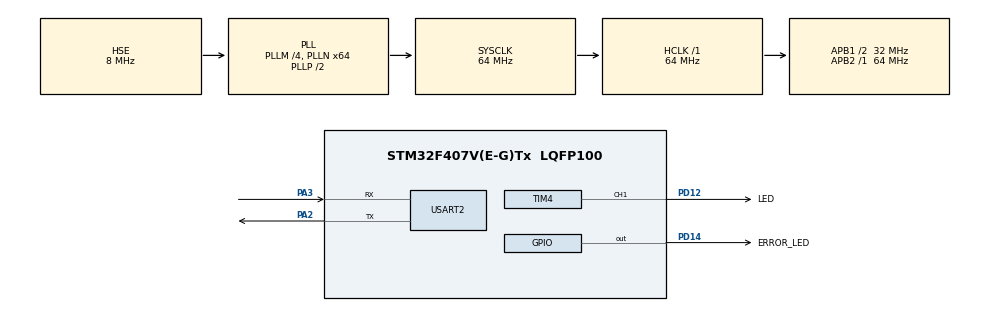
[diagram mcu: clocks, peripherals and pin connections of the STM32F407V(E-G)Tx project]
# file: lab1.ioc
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Dma.Request0=TIM8_UP
Dma.Request1=USART2_RX
Dma.Request2=USART2_TX
Dma.TIM8_UP.0.Direction=DMA_MEMORY_TO_PERIPH
Dma.TIM8_UP.0.FIFOMode=DMA_FIFOMODE_DISABLE
Dma.TIM8_UP.0.Instance=DMA2_Stream1
Dma.TIM8_UP.0.MemDataAlignment=DMA_MDATAALIGN_HALFWORD
Dma.TIM8_UP.0.MemInc=DMA_MINC_ENABLE
Dma.TIM8_UP.0.Mode=DMA_CIRCULAR
Dma.TIM8_UP.0.PeriphDataAlignment=DMA_PDATAALIGN_HALFWORD
Dma.TIM8_UP.0.PeriphInc=DMA_PINC_DISABLE
Dma.TIM8_UP.0.Priority=DMA_PRIORITY_HIGH
Dma.USART2_RX.1.Direction=DMA_PERIPH_TO_MEMORY
Dma.USART2_RX.1.FIFOMode=DMA_FIFOMODE_DISABLE
Dma.USART2_RX.1.Instance=DMA1_Stream5
Dma.USART2_RX.1.MemDataAlignment=DMA_MDATAALIGN_BYTE
Dma.USART2_RX.1.MemInc=DMA_MINC_ENABLE
Dma.USART2_RX.1.Mode=DMA_NORMAL
Dma.USART2_RX.1.PeriphDataAlignment=DMA_PDATAALIGN_BYTE
Dma.USART2_RX.1.PeriphInc=DMA_PINC_DISABLE
Dma.USART2_RX.1.Priority=DMA_PRIORITY_HIGH
Dma.USART2_TX.2.Direction=DMA_MEMORY_TO_PERIPH
Dma.USART2_TX.2.FIFOMode=DMA_FIFOMODE_DISABLE
Dma.USART2_TX.2.Instance=DMA1_Stream6
Dma.USART2_TX.2.MemDataAlignment=DMA_MDATAALIGN_BYTE
Dma.USART2_TX.2.MemInc=DMA_MINC_ENABLE
Dma.USART2_TX.2.Mode=DMA_NORMAL
Dma.USART2_TX.2.PeriphDataAlignment=DMA_PDATAALIGN_BYTE
Dma.USART2_TX.2.PeriphInc=DMA_PINC_DISABLE
Dma.USART2_TX.2.Priority=DMA_PRIORITY_HIGH
Mcu.Family=STM32F4
Mcu.Name=STM32F407V(E-G)Tx
Mcu.Package=LQFP100
NVIC.DMA1_Stream5_IRQn=true\:0\:0\:false\:false\:true\:false\:true\:true
NVIC.DMA1_Stream6_IRQn=true\:0\:0\:false\:false\:true\:false\:true\:true
NVIC.DMA2_Stream1_IRQn=true\:0\:0\:false\:false\:true\:false\:true\:true
NVIC.PriorityGroup=NVIC_PRIORITYGROUP_4
PA2.Mode=Asynchronous
PA2.Signal=USART2_TX
PA3.Mode=Asynchronous
PA3.Signal=USART2_RX
PD12.GPIO_Label=LED
PD12.Signal=S_TIM4_CH1
PD14.GPIO_Label=ERROR_LED
PD14.Signal=GPIO_Output
PH0-OSC_IN.Mode=HSE-External-Oscillator
PH0-OSC_IN.Signal=RCC_OSC_IN
PH1-OSC_OUT.Mode=HSE-External-Oscillator
PH1-OSC_OUT.Signal=RCC_OSC_OUT
ProjectManager.HeapSize=0x200
ProjectManager.StackSize=0x400
ProjectManager.TargetToolchain=STM32CubeIDE
RCC.48MHZClocksFreq_Value=32000000
RCC.AHBFreq_Value=64000000
RCC.APB1CLKDivider=RCC_HCLK_DIV2
RCC.APB1Freq_Value=32000000
RCC.APB1TimFreq_Value=64000000
RCC.APB2Freq_Value=64000000
RCC.APB2TimFreq_Value=64000000
RCC.CortexFreq_Value=64000000
RCC.HCLKFreq_Value=64000000
RCC.HSE_VALUE=8000000
RCC.HSI_VALUE=16000000
RCC.LSE_VALUE=32768
RCC.PLLM=4
RCC.PLLN=64
RCC.PLLSourceVirtual=RCC_PLLSOURCE_HSE
RCC.SYSCLKFreq_VALUE=64000000
RCC.SYSCLKSource=RCC_SYSCLKSOURCE_PLLCLK
RCC.VCOOutputFreq_Value=128000000
SH.S_TIM4_CH1.0=TIM4_CH1,PWM Generation1 CH1
TIM4.Channel-PWM\ Generation1\ CH1=TIM_CHANNEL_1
TIM4.Period=256-1
TIM4.Prescaler=25-1
TIM8.AutoReloadPreload=TIM_AUTORELOAD_PRELOAD_ENABLE
TIM8.Period=1003
TIM8.Prescaler=125-1
USART2.VirtualMode=VM_ASYNC
VP_TIM4_VS_ClockSourceINT.Mode=Internal
VP_TIM8_VS_ClockSourceINT.Mode=Internal
board=custom

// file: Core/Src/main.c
/* USER CODE BEGIN Header */
/* USER CODE END Header */
#include "main.h"

/* USER CODE BEGIN PD */

/* -------------- */

#define TIM8_PRESC            ( 125 - 1 )

#define CRT_GAMMA             2.2
#define CRT_MAX               255
#define CRT_TABLE_LEN         ( CRT_MAX * 2 )

#define MAIN_LED_FLASH_FREQ   120

/* USER CODE END PD */

TIM_HandleTypeDef htim2;
TIM_HandleTypeDef htim4;
TIM_HandleTypeDef htim8;
DMA_HandleTypeDef hdma_tim8_up;

UART_HandleTypeDef huart2;
DMA_HandleTypeDef hdma_usart2_rx;
DMA_HandleTypeDef hdma_usart2_tx;

/* USER CODE BEGIN PV */

#define LED_TIMER                 htim4
#define LED_CHANNEL               TIM_CHANNEL_1

#define LED_SET_TIMER             htim8

/* -------------- */

uint16_t LED_Period;
float CRT_K;
float CRT_Gamma;

uint16_t led_brightness_table[CRT_TABLE_LEN];

/* -------------- */

#define MSG_LEN            7
#define FULL_MSG_LEN       (MSG_LEN + 2)

uint8_t rx_buffer[FULL_MSG_LEN];
uint8_t msg_buffer[FULL_MSG_LEN];
volatile uint8_t msg_received_flug = 0;

/* USER CODE END PV */

void SystemClock_Config(void);
static void MX_GPIO_Init(void);
static void MX_DMA_Init(void);
static void MX_TIM4_Init(void);
static void MX_TIM8_Init(void);
static void MX_USART2_UART_Init(void);
/* USER CODE BEGIN PFP */

void setup_CRT();
uint16_t get_CRT(uint16_t val);
void calc_brightness_table(uint16_t *table);
void set_blink_frequency(TIM_HandleTypeDef *htim, uint32_t freq);

void HAL_UART_RxCpltCallback(UART_HandleTypeDef *huart);
void USART_DMA_SendString(UART_HandleTypeDef *huart, const char *str);

void messageProcessing(uint8_t* message);
void LEDProcessing(uint8_t func, uint32_t data);
void ServoProcessing(uint8_t func, uint32_t data);

/* USER CODE END PFP */

/* USER CODE BEGIN 0 */

void calc_CRT_K() {
	CRT_K = ( CRT_MAX / (pow(CRT_MAX, CRT_Gamma)) );
}

void setup_CRT() {
	CRT_Gamma = CRT_GAMMA;
	calc_CRT_K();
}

uint16_t get_CRT(uint16_t val) {
	return (uint16_t)( CRT_K * pow(val, CRT_Gamma) );
}

void calc_brightness_table(uint16_t *table) {
	for (uint16_t i=0; i<CRT_MAX; i++) {
		uint16_t val = (uint16_t)get_CRT(i);
		table[i] = val;
		table[CRT_TABLE_LEN-i-1] = val;
	}
}

void set_blink_frequency(TIM_HandleTypeDef *htim, uint32_t freq) {
    uint32_t period = 0;

    freq *= CRT_TABLE_LEN;
    freq /= 60;

    if (freq > 0) {
        uint32_t tick_freq = MAIN_CLOCK / (TIM8_PRESC + 1);
        period = tick_freq / freq;
    }

    __HAL_TIM_SET_AUTORELOAD(htim, period);
}

#define LED_Enable()      HAL_TIM_PWM_Start(&htim4, LED_CHANNEL);
#define LED_Disable()     HAL_TIM_PWM_Stop(&htim4, LED_CHANNEL);

/* -------------- */

#define USART_DMA_RX_Init()     HAL_UART_Receive_DMA(&huart2, rx_buffer, FULL_MSG_LEN);

void USART_DMA_SendString(UART_HandleTypeDef *huart, const char *str) {
    uint16_t len = strlen(str);
    HAL_UART_Transmit_DMA(huart, (uint8_t *)str, len);
}
#define uart_send(str) USART_DMA_SendString(&huart2, str)

/* -------------- */

void HAL_UART_RxCpltCallback(UART_HandleTypeDef *huart) {
    if (huart->Instance != USART2) return;

    memmove(msg_buffer, rx_buffer, FULL_MSG_LEN);
    msg_received_flug = 1;
}

void HAL_UART_TxCpltCallback(UART_HandleTypeDef *huart) {
    if (huart->Instance != USART2) return;

    //
}

/* -------------- */

uint8_t crc8(const uint8_t *data, size_t length) {
    uint8_t crc = 0x00;
    for (size_t i = 0; i < length; i++) {
        crc ^= data[i];
        for (uint8_t bit = 0; bit < 8; bit++) {
            if (crc & 0x80) crc = (crc << 1) ^ 0x07;
            else crc <<= 1;
        }
    }
    return crc;
}

void messageProcessing(uint8_t *message) {
	uint8_t first_byte  = message[0];
	uint8_t target_byte = message[1];
	uint8_t func_byte   = message[2];
	uint32_t data_bytes = (uint32_t)message[3] << 24 |
			              (uint32_t)message[4] << 16 |
						  (uint32_t)message[5] << 8 |
						  (uint32_t)message[6] << 0;
	uint8_t crc_byte    = message[7];

	if (first_byte != 0xFF) return;
	if (crc_byte != crc8(message, 7)) return;

	switch (target_byte) {
	case 0x00:
		LEDProcessing(func_byte, data_bytes);
		break;
	case 0x01:
		ServoProcessing(func_byte, data_bytes);
		break;
	}
}

void LEDProcessing(uint8_t func, uint32_t data) {
	switch (func) {
	case 0x00: // ON / OFF
		if (data & 0x01) LED_Enable() else LED_Disable();
		break;
	case 0x01: // Frequency
		set_blink_frequency(&LED_SET_TIMER, data);
		break;
	case 0x02: // Gamma
		CRT_Gamma = (float)data/10;
		calc_CRT_K();
		calc_brightness_table(led_brightness_table);
		break;
	}
}

void ServoProcessing(uint8_t func, uint32_t data) {
	switch (func) {
	case 0x00: // Угол
		SERVO_setAngle((uint16_t)data);
		break;
	}
}

/* USER CODE END 0 */

int main(void)
{

  /* MCU Configuration--------------------------------------------------------*/

  /* Reset of all peripherals, Initializes the Flash interface and the Systick. */
  HAL_Init();

  /* Configure the system clock */
  SystemClock_Config();

  /* Initialize all configured peripherals */
  MX_GPIO_Init();
  MX_DMA_Init();
  MX_TIM4_Init();
  MX_TIM8_Init();
  MX_USART2_UART_Init();
  /* USER CODE BEGIN 2 */

  SERVO_TimerInit();

  USART_DMA_RX_Init();

  setup_CRT();
  calc_brightness_table(led_brightness_table);

  SERVO_Enable();

  LED_Enable();
  HAL_DMA_Start(&hdma_tim8_up, (uint32_t)led_brightness_table, (uint32_t)&TIM4->CCR1, CRT_TABLE_LEN);
  HAL_TIM_Base_Start(&LED_SET_TIMER);

  uart_send("\nПогнали, йоптыть!\n\r");
  HAL_Delay(500);
  uart_send("Работает?\n\r");

  /* USER CODE END 2 */

  /* Infinite loop */
  /* USER CODE BEGIN WHILE */

  set_blink_frequency(&LED_SET_TIMER, MAIN_LED_FLASH_FREQ);
  SERVO_setAngle(0);

  while (1) {
	if (!msg_received_flug) continue;

	msg_received_flug = 0;
	messageProcessing(msg_buffer);
	USART_DMA_RX_Init();

    /* USER CODE END WHILE */

  }
}

void SystemClock_Config(void)
{
  RCC_OscInitTypeDef RCC_OscInitStruct = {0};
  RCC_ClkInitTypeDef RCC_ClkInitStruct = {0};

  /** Configure the main internal regulator output voltage
  */
  __HAL_RCC_PWR_CLK_ENABLE();
  __HAL_PWR_VOLTAGESCALING_CONFIG(PWR_REGULATOR_VOLTAGE_SCALE1);

  /** Initializes the RCC Oscillators according to the specified parameters
  * in the RCC_OscInitTypeDef structure.
  */
  RCC_OscInitStruct.OscillatorType = RCC_OSCILLATORTYPE_HSE;
  RCC_OscInitStruct.HSEState = RCC_HSE_ON;
  RCC_OscInitStruct.PLL.PLLState = RCC_PLL_ON;
  RCC_OscInitStruct.PLL.PLLSource = RCC_PLLSOURCE_HSE;
  RCC_OscInitStruct.PLL.PLLM = 4;
  RCC_OscInitStruct.PLL.PLLN = 64;
  RCC_OscInitStruct.PLL.PLLP = RCC_PLLP_DIV2;
  RCC_OscInitStruct.PLL.PLLQ = 4;
  if (HAL_RCC_OscConfig(&RCC_OscInitStruct) != HAL_OK)
  {
    Error_Handler();
  }

  /** Initializes the CPU, AHB and APB buses clocks
  */
  RCC_ClkInitStruct.ClockType = RCC_CLOCKTYPE_HCLK|RCC_CLOCKTYPE_SYSCLK
                              |RCC_CLOCKTYPE_PCLK1|RCC_CLOCKTYPE_PCLK2;
  RCC_ClkInitStruct.SYSCLKSource = RCC_SYSCLKSOURCE_PLLCLK;
  RCC_ClkInitStruct.AHBCLKDivider = RCC_SYSCLK_DIV1;
  RCC_ClkInitStruct.APB1CLKDivider = RCC_HCLK_DIV2;
  RCC_ClkInitStruct.APB2CLKDivider = RCC_HCLK_DIV1;

  if (HAL_RCC_ClockConfig(&RCC_ClkInitStruct, FLASH_LATENCY_2) != HAL_OK)
  {
    Error_Handler();
  }
}

static void MX_TIM4_Init(void)
{

  TIM_ClockConfigTypeDef sClockSourceConfig = {0};
  TIM_MasterConfigTypeDef sMasterConfig = {0};
  TIM_OC_InitTypeDef sConfigOC = {0};

  htim4.Instance = TIM4;
  htim4.Init.Prescaler = 25-1;
  htim4.Init.CounterMode = TIM_COUNTERMODE_UP;
  htim4.Init.Period = 256-1;
  htim4.Init.ClockDivision = TIM_CLOCKDIVISION_DIV1;
  htim4.Init.AutoReloadPreload = TIM_AUTORELOAD_PRELOAD_DISABLE;
  if (HAL_TIM_Base_Init(&htim4) != HAL_OK)
  {
    Error_Handler();
  }
  sClockSourceConfig.ClockSource = TIM_CLOCKSOURCE_INTERNAL;
  if (HAL_TIM_ConfigClockSource(&htim4, &sClockSourceConfig) != HAL_OK)
  {
    Error_Handler();
  }
  if (HAL_TIM_PWM_Init(&htim4) != HAL_OK)
  {
    Error_Handler();
  }
  sMasterConfig.MasterOutputTrigger = TIM_TRGO_RESET;
  sMasterConfig.MasterSlaveMode = TIM_MASTERSLAVEMODE_DISABLE;
  if (HAL_TIMEx_MasterConfigSynchronization(&htim4, &sMasterConfig) != HAL_OK)
  {
    Error_Handler();
  }
  sConfigOC.OCMode = TIM_OCMODE_PWM1;
  sConfigOC.Pulse = 0;
  sConfigOC.OCPolarity = TIM_OCPOLARITY_HIGH;
  sConfigOC.OCFastMode = TIM_OCFAST_DISABLE;
  if (HAL_TIM_PWM_ConfigChannel(&htim4, &sConfigOC, TIM_CHANNEL_1) != HAL_OK)
  {
    Error_Handler();
  }
  HAL_TIM_MspPostInit(&htim4);

}

static void MX_TIM8_Init(void) {
  TIM_ClockConfigTypeDef sClockSourceConfig = {0};
  TIM_MasterConfigTypeDef sMasterConfig = {0};

  LED_SET_TIMER.Instance = TIM8;
  LED_SET_TIMER.Init.Prescaler = 125-1;
  LED_SET_TIMER.Init.CounterMode = TIM_COUNTERMODE_UP;
  LED_SET_TIMER.Init.Period = 1003;
  LED_SET_TIMER.Init.ClockDivision = TIM_CLOCKDIVISION_DIV1;
  LED_SET_TIMER.Init.RepetitionCounter = 0;
  LED_SET_TIMER.Init.AutoReloadPreload = TIM_AUTORELOAD_PRELOAD_ENABLE;
  if (HAL_TIM_Base_Init(&LED_SET_TIMER) != HAL_OK) Error_Handler();

  sClockSourceConfig.ClockSource = TIM_CLOCKSOURCE_INTERNAL;
  if (HAL_TIM_ConfigClockSource(&LED_SET_TIMER, &sClockSourceConfig) != HAL_OK) Error_Handler();

  sMasterConfig.MasterOutputTrigger = TIM_TRGO_RESET;
  sMasterConfig.MasterSlaveMode = TIM_MASTERSLAVEMODE_DISABLE;
  if (HAL_TIMEx_MasterConfigSynchronization(&LED_SET_TIMER, &sMasterConfig) != HAL_OK) Error_Handler();

  TIM8->DIER |= TIM_DIER_UDE;
}

static void MX_USART2_UART_Init(void)
{

  huart2.Instance = USART2;
  huart2.Init.BaudRate = 115200;
  huart2.Init.WordLength = UART_WORDLENGTH_8B;
  huart2.Init.StopBits = UART_STOPBITS_1;
  huart2.Init.Parity = UART_PARITY_NONE;
  huart2.Init.Mode = UART_MODE_TX_RX;
  huart2.Init.HwFlowCtl = UART_HWCONTROL_NONE;
  huart2.Init.OverSampling = UART_OVERSAMPLING_16;
  if (HAL_UART_Init(&huart2) != HAL_OK)
  {
    Error_Handler();
  }

}

static void MX_DMA_Init(void)
{

  /* DMA controller clock enable */
  __HAL_RCC_DMA2_CLK_ENABLE();
  __HAL_RCC_DMA1_CLK_ENABLE();

  HAL_NVIC_SetPriority(DMA1_Stream5_IRQn, 0, 0);
  HAL_NVIC_EnableIRQ(DMA1_Stream5_IRQn);

  HAL_NVIC_SetPriority(DMA1_Stream6_IRQn, 0, 0);
  HAL_NVIC_EnableIRQ(DMA1_Stream6_IRQn);

  HAL_NVIC_SetPriority(DMA2_Stream1_IRQn, 0, 0);
  HAL_NVIC_EnableIRQ(DMA2_Stream1_IRQn);

}

static void MX_GPIO_Init(void)
{
  GPIO_InitTypeDef GPIO_InitStruct = {0};

  /* GPIO Ports Clock Enable */
  __HAL_RCC_GPIOH_CLK_ENABLE();
  __HAL_RCC_GPIOA_CLK_ENABLE();
  __HAL_RCC_GPIOD_CLK_ENABLE();

  /*Configure GPIO pin Output Level */
  HAL_GPIO_WritePin(ERROR_LED_GPIO_Port, ERROR_LED_Pin, GPIO_PIN_RESET);

  /*Configure GPIO pin : ERROR_LED_Pin */
  GPIO_InitStruct.Pin = ERROR_LED_Pin;
  GPIO_InitStruct.Mode = GPIO_MODE_OUTPUT_PP;
  GPIO_InitStruct.Pull = GPIO_NOPULL;
  GPIO_InitStruct.Speed = GPIO_SPEED_FREQ_LOW;
  HAL_GPIO_Init(ERROR_LED_GPIO_Port, &GPIO_InitStruct);

}

void Error_Handler(void)
{
  /* USER CODE BEGIN Error_Handler_Debug */
  /* User can add his own implementation to report the HAL error return state */
  __disable_irq();
  while (1) {
	HAL_GPIO_WritePin(ERROR_LED_GPIO_Port, ERROR_LED_Pin, 1);
	HAL_Delay(500);
	HAL_GPIO_WritePin(ERROR_LED_GPIO_Port, ERROR_LED_Pin, 0);
	HAL_Delay(500);
  }
  /* USER CODE END Error_Handler_Debug */
}
